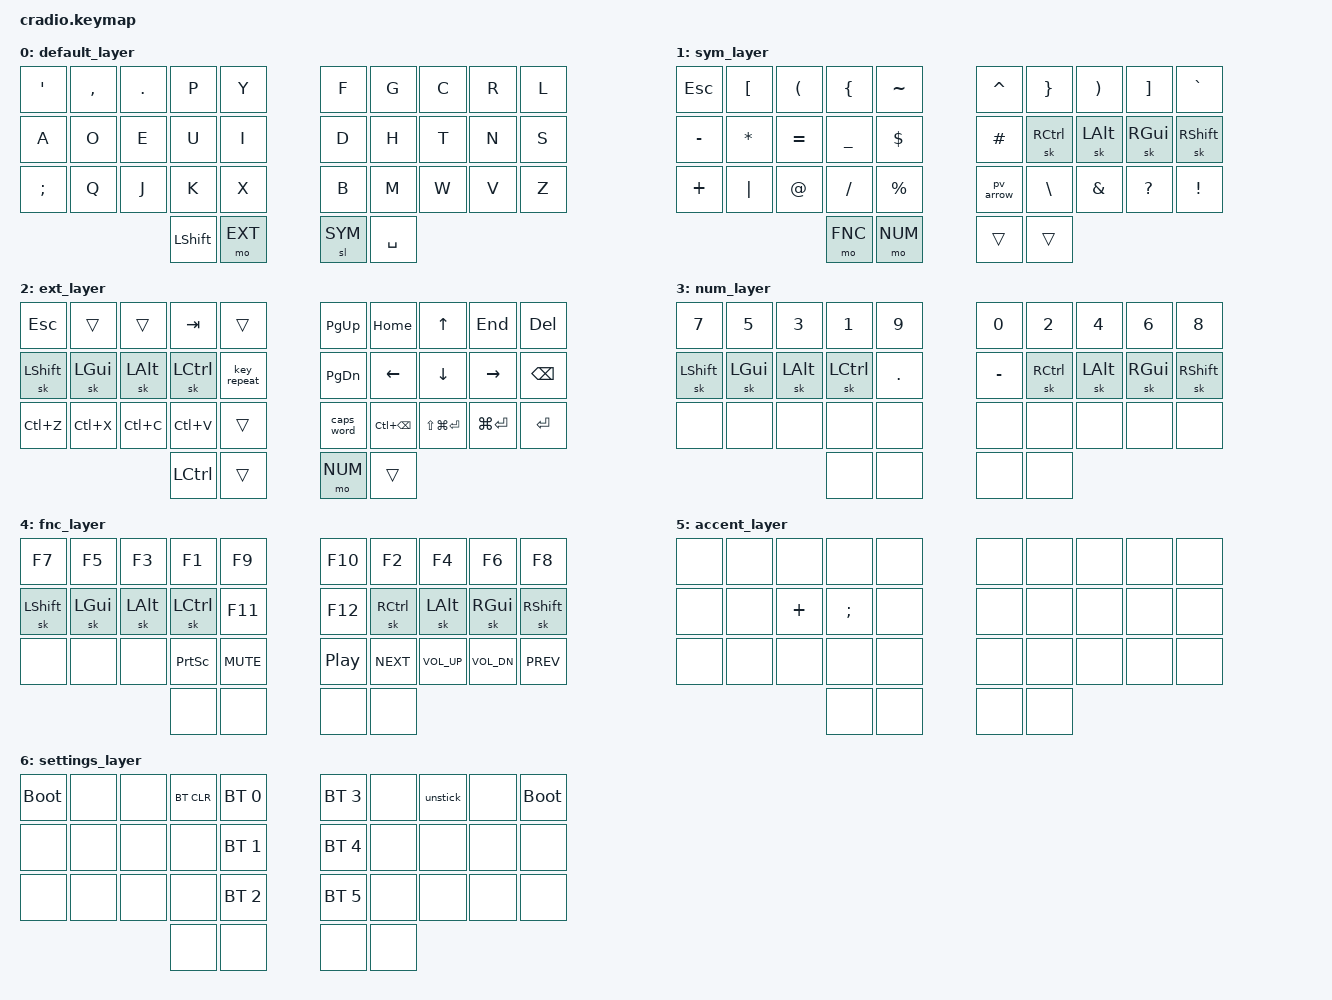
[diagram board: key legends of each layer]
/*
 * Copyright (c) 2020 The ZMK Contributors
 *
 * SPDX-License-Identifier: MIT
 */

#include <behaviors.dtsi>
#include <dt-bindings/zmk/keys.h>
#include <dt-bindings/zmk/bt.h>
#include "keymap_italian.h"

// Layer definitions
    #define BASE 0
    #define SYM 1
    #define EXT 2
    #define NUM 3
    #define FNC 4
    #define ACCENT 5
		#define SETTINGS 6
// -----------------

/*                KEY POSITIONS

  ╭────────────────────╮ ╭────────────────────╮
  │  0   1   2   3   4 │ │  5   6   7   8   9 │
  │ 10  11  12  13  14 │ │ 15  16  17  18  19 │
  │ 20  21  22  23  24 │ │ 25  26  27  28  29 │
  ╰───────────╮ 30  31 │ │ 32  33 ╭───────────╯
              ╰────────╯ ╰────────╯            */

&mt {
   //  flavor = "tap-preferred";
   // tapping_term_ms = <200>;
};

&sk {
    ignore-modifiers;
};

/ {
    macros {
        // sometimes my device thinks a modifier is being held down
        // pressing all modifiers fixes it.
        unstick: unstick {
            label = "ZM_unstick";
            compatible = "zmk,behavior-macro";
            #binding-cells = <0>;
            bindings
                = <&kp LSHIFT &kp RSHIFT &kp LCTRL &kp RCTRL &kp LALT &kp RALT &kp LGUI &kp RGUI>;
        };
        arrow: arrow {
            label = "ZM_arrow";
            compatible = "zmk,behavior-macro";
            #binding-cells = <0>;
            bindings
                = <&kp MINUS &kp GT>;
        };
        fat_arrow: fat_arrow {
            label = "ZM_fat_arrow";
            compatible = "zmk,behavior-macro";
            #binding-cells = <0>;
            bindings
                = <&kp EQUAL &kp GT>;
        };
    };

    combos {
        compatible = "zmk,combos";
                // workaround for dead pin
        combo_semi {
            timeout-ms = <30>;
            key-positions = <0 10>;
            bindings = <&kp SEMI>;
            layers = <BASE>;
        };
        combo_plus {
            timeout-ms = <30>;
            key-positions = <0 10>;
            bindings = <&kp PLUS>;
            layers = <SYM>;
        };
				// both right thumb keys
        combo_accent {
            timeout-ms = <300>;
            key-positions = <32 33>;
            bindings = <&mo ACCENT>;
        };
                // both left thumb keys
        combo_settings {
                timeout-ms = <300>;
                key-positions = <30 31>;
                bindings = <&mo SETTINGS>;
        };
    };

    behaviors {
        pv_arrow: arrow_mod_morph {
            compatible = "zmk,behavior-mod-morph";
            #binding-cells = <0>;
            bindings = <&arrow>, <&fat_arrow>;
            mods = <(MOD_LSFT|MOD_RSFT)>;
        };
    };

    keymap {
            compatible = "zmk,keymap";

        // Base alpha layer
       		default_layer {
		bindings = <
		&kp QUOT &kp COMMA &kp DOT &kp P &kp Y           &kp F &kp G  &kp C     &kp R   &kp L 
		&kp A    &kp O     &kp E   &kp U &kp I           &kp D &kp H  &kp T     &kp N   &kp S
		&kp SEMI &kp Q     &kp J   &kp K &kp X           &kp B &kp M  &kp W     &kp V   &kp Z
             								&kp LSHIFT &mo EXT    &sl SYM &kp SPACE 
		>;
		};

        // High frequency symbols
       		sym_layer {
		bindings = <
		&kp ESC &kp LBKT &kp LPAR &kp LBRC &kp TILDE		&kp CARET &kp RBRC &kp RPAR &kp RBKT &kp GRAVE
		&kp MINUS &kp STAR &kp EQUAL &kp UNDER &kp DLLR     &kp HASH &sk RCTRL &sk LALT &sk RGUI &sk RSHIFT
		&kp PLUS &kp PIPE &kp AT &kp FSLH &kp PRCNT 	    &pv_arrow &kp BSLH &kp AMPS &kp QMARK &kp EXCL
					                        &mo FNC  &mo NUM     &trans &trans
		>;
		};

        // Navigation
		    ext_layer {
		bindings = <
		&kp ESC  &trans &trans  &kp TAB  &trans     			    &kp PG_UP   &kp HOME        &kp UP          &kp END     &kp DEL
		&sk LSHIFT  &sk LGUI  &sk LALT &sk LCTRL  &key_repeat	    &kp PG_DN   &kp LEFT        &kp DOWN        &kp RIGHT   &kp BSPC
		&kp LC(Z)  &kp LC(X) &kp LC(C) &kp LC(V)  &trans            &caps_word  &kp LC(BSPC)    &kp LS(LG(ENTER))  &kp LG(ENTER)  &kp ENTER
					                        &kp LCTRL &trans    &mo NUM  &trans
		>;
		};

        // Numbers
       		num_layer {
		bindings = <
        &kp N7 &kp N5 &kp N3 &kp N1 &kp N9	                &kp N0 &kp N2 &kp N4 &kp N6 &kp N8
		&sk LSHIFT &sk LGUI &sk LALT &sk LCTRL &kp DOT      &kp MINUS &sk RCTRL &sk LALT &sk RGUI &sk RSHIFT
		&none &none &none &none &none		                &none &none &none &none &none
          				           	&none &none        	&none &none 
		>;
		};

        // Function keys
       		fnc_layer {
		bindings = <
		&kp F7 &kp F5 &kp F3 &kp F1 &kp F9                  &kp F10 &kp F2 &kp F4 &kp F6 &kp F8 
		&sk LSHIFT &sk LGUI &sk LALT &sk LCTRL &kp F11      &kp F12 &sk RCTRL &sk LALT &sk RGUI &sk RSHIFT
        &none &none &none &kp PRINTSCREEN &kp C_MUTE        &kp C_PP &kp C_NEXT &kp C_VOL_UP &kp C_VOL_DN &kp C_PREV
          				           &none &none              &none &none  
		>;
		};

        // Used to type regional accents.
       		accent_layer {
		bindings = <
		&none &none &none &none &none                         &none &none &none &none &none 
		&none &none &kp PLUS &kp SEMI &none                         &none &none &none &none &none
		&none &none &none &none &none                         &none &none &none &none &none
          				     		&none &none                         &none &none 
		>;
		};

        // Used to change the keyboard's settings.
       		settings_layer {
		bindings = <
		&bootloader &none &none &bt BT_CLR &bt BT_SEL 0               &bt BT_SEL 3 &none &unstick &none &bootloader 
		&none &none &none &none      &bt BT_SEL 1 						  &bt BT_SEL 4 &none &none &none &none
		&none &none &none &none      &bt BT_SEL 2               &bt BT_SEL 5 &none &none &none &none
          				     &none &none                         &none &none 
		>;
		};
        
	};
};
